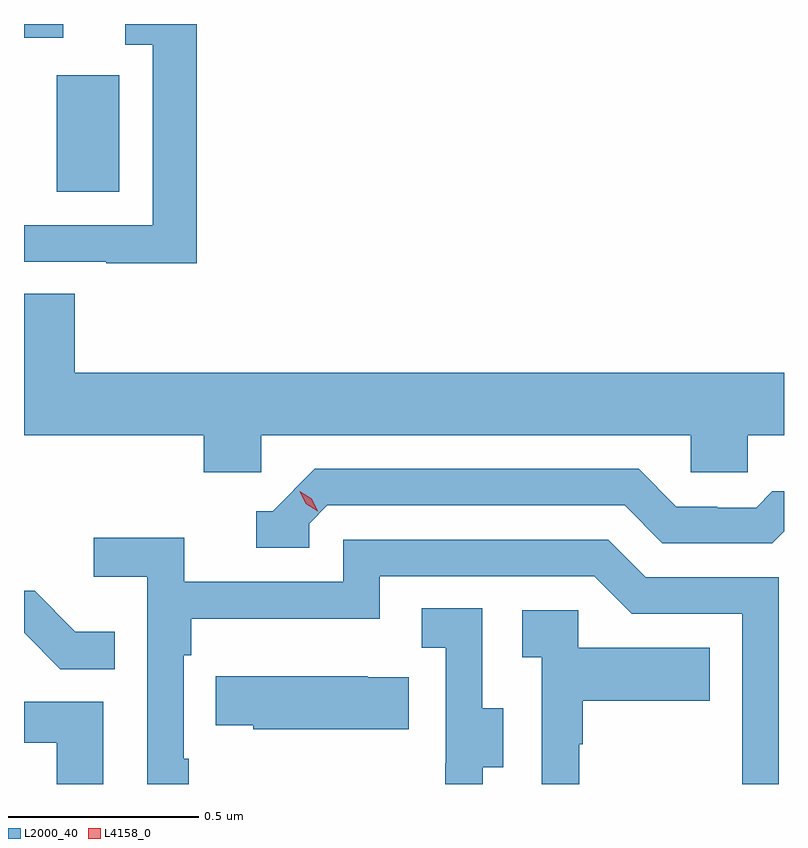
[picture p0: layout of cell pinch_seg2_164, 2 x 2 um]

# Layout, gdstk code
import gdstk
lib = gdstk.Library(unit=1e-6, precision=1e-09)
def R(c, l, rs):  # rectangles x0, y0, x1, y1
    for r in rs: c.add(gdstk.rectangle(r[:2], r[2:], *l))
def P(c, l, *ps):  # polygons
    for p in ps: c.add(gdstk.Polygon(p, *l))
L2000_40 = (2000, 40)
L4158_0 = (4158, 0)

pinch_seg2_164 = lib.new_cell('pinch_seg2_164')
R(pinch_seg2_164, L2000_40, [(1090.88,640.284,1091.044,640.591), (1090.794,640.69,1090.897,640.726)])
P(pinch_seg2_164, L2000_40, [(1091.249,640.726),(1091.061,640.726),(1091.061,640.671),(1091.133,640.671),(1091.133,640.197),(1090.794,640.197),(1090.794,640.101),(1091.011,640.101),(1091.011,640.096),(1091.249,640.096)],
  [(1091.418,639.644),(1092.549,639.644),(1092.549,639.546),(1092.699,639.546),(1092.699,639.644),(1092.794,639.644),(1092.794,639.808),(1090.928,639.808),(1090.928,640.016),(1090.794,640.016),(1090.794,639.644),(1091.267,639.644),(1091.267,639.546),(1091.418,639.546)],
  [(1091.544,639.411),(1091.592,639.459),(1092.375,639.459),(1092.474,639.36),(1092.763,639.36),(1092.794,639.391),(1092.794,639.496),(1092.763,639.496),(1092.721,639.453),(1092.618,639.453),(1092.618,639.456),(1092.511,639.456),(1092.412,639.555),(1091.559,639.555),(1091.448,639.444),(1091.405,639.444),(1091.405,639.348),(1091.544,639.348)],
  [(1091.227,638.792),(1091.214,638.792),(1091.214,639.065),(1091.234,639.065),(1091.234,639.161),(1091.73,639.161),(1091.73,639.273),(1092.294,639.273),(1092.393,639.174),(1092.684,639.174),(1092.684,638.726),(1092.78,638.726),(1092.78,639.27),(1092.43,639.27),(1092.331,639.369),(1091.634,639.369),(1091.634,639.258),(1091.216,639.258),(1091.216,639.374),(1090.977,639.374),(1090.977,639.272),(1091.118,639.272),(1091.118,638.726),(1091.227,638.726)],
  [(1091.033,639.127),(1090.929,639.127),(1090.822,639.234),(1090.794,639.234),(1090.794,639.124),(1090.89,639.028),(1091.033,639.028)],
  [(1092.001,638.77),(1092.055,638.77),(1092.055,638.925),(1092,638.925),(1092,639.188),(1091.841,639.188),(1091.841,639.085),(1091.904,639.085),(1091.904,638.781),(1091.903,638.781),(1091.903,638.726),(1092.001,638.726)],
  [(1092.255,638.831),(1092.265,638.831),(1092.265,638.945),(1092.599,638.945),(1092.599,639.085),(1092.252,639.085),(1092.252,639.183),(1092.105,639.183),(1092.105,639.059),(1092.156,639.059),(1092.156,638.726),(1092.255,638.726)],
  [(1091.807,639.007),(1091.699,639.007),(1091.699,639.01),(1091.299,639.01),(1091.299,638.881),(1091.397,638.881),(1091.397,638.87),(1091.807,638.87)],
  [(1091.002,638.943),(1090.794,638.943),(1090.794,638.835),(1090.88,638.835),(1090.88,638.726),(1091.002,638.726)])
P(pinch_seg2_164, L4158_0, [(1091.567,639.444),(1091.536,639.463),(1091.52,639.496),(1091.52,639.496),(1091.52,639.496),(1091.551,639.477),(1091.567,639.444),(1091.567,639.444)])

lib.write_gds('pinch_seg2_164.gds')
